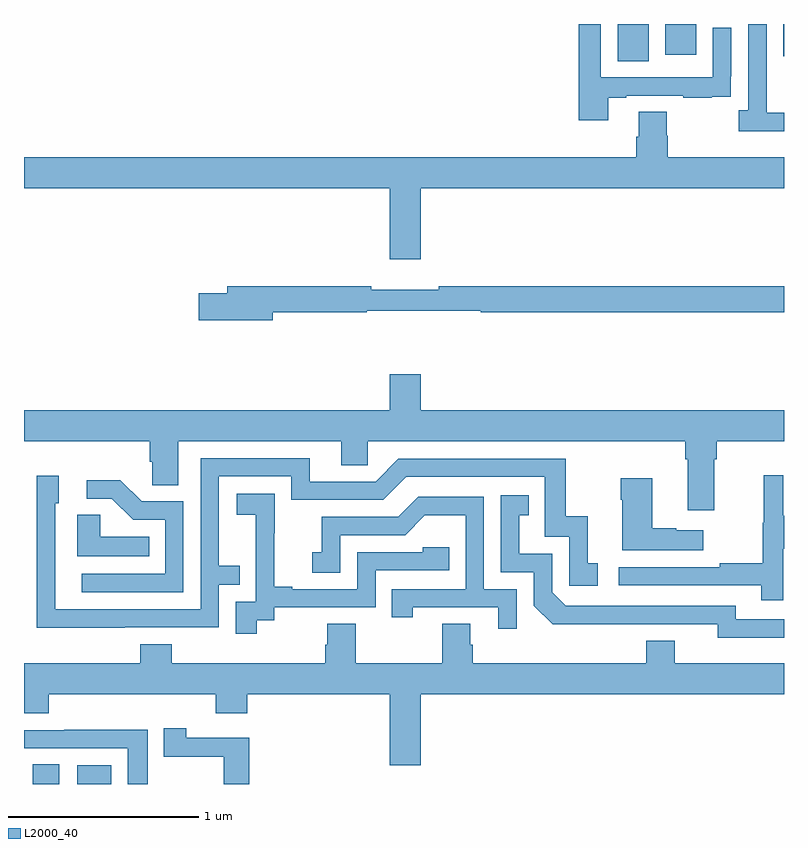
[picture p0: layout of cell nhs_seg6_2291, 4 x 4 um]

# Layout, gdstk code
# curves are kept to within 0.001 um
import gdstk
lib = gdstk.Library(unit=1e-6, precision=1e-09)
def R(c, l, rs):  # rectangles x0, y0, x1, y1
    for r in rs: c.add(gdstk.rectangle(r[:2], r[2:], *l))
def P(c, l, *ps):  # polygons
    for p in ps: c.add(gdstk.Polygon(p, *l))
L2000_40 = (2000, 40)

nhs_seg6_2291 = lib.new_cell('nhs_seg6_2291')
R(nhs_seg6_2291, L2000_40, [(247.046,977.5,247.186,977.603), (247.28,977.5,247.459,977.599), (250.124,981.304,250.288,981.5), (250.997,981.329,251,981.5), (250.376,981.339,250.537,981.5)])
P(nhs_seg6_2291, L2000_40, [(251,981.033),(250.909,981.033),(250.909,981.233),(250.908,981.233),(250.908,981.5),(250.812,981.5),(250.812,981.046),(250.761,981.046),(250.761,980.936),(251,980.936)],
  [(250.075,981.111),(250.171,981.111),(250.171,981.123),(250.471,981.123),(250.471,981.111),(250.619,981.111),(250.619,981.117),(250.721,981.117),(250.721,981.226),(250.722,981.226),(250.722,981.481),(250.626,981.481),(250.626,981.219),(250.035,981.219),(250.035,981.5),(249.919,981.5),(249.919,980.994),(250.075,980.994)],
  [(249.088,980.636),(251,980.636),(251,980.8),(250.388,980.8),(250.388,980.913),(250.383,980.913),(250.383,981.038),(250.235,981.038),(250.235,980.906),(250.223,980.906),(250.223,980.8),(247,980.8),(247,980.636),(248.924,980.636),(248.924,980.262),(249.088,980.262)],
  [(248.308,979.984),(248.804,979.984),(248.804,979.992),(249.404,979.992),(249.404,979.984),(251,979.984),(251,980.12),(249.184,980.12),(249.184,980.101),(248.828,980.101),(248.828,980.12),(248.069,980.12),(248.069,980.084),(247.92,980.084),(247.92,979.942),(248.308,979.942)],
  [(250.633,979.208),(250.646,979.208),(250.646,979.304),(251,979.304),(251,979.468),(249.088,979.468),(249.088,979.657),(248.924,979.657),(248.924,979.468),(247,979.468),(247,979.304),(247.661,979.304),(247.661,979.195),(247.674,979.195),(247.674,979.072),(247.813,979.072),(247.813,979.304),(248.669,979.304),(248.669,979.177),(248.808,979.177),(248.808,979.304),(250.481,979.304),(250.481,979.208),(250.493,979.208),(250.493,978.942),(250.633,978.942)],
  [(247.529,978.324),(248.025,978.324),(248.025,978.549),(248.135,978.549),(248.135,978.65),(248.025,978.65),(248.025,979.119),(248.406,979.119),(248.406,978.996),(248.892,978.996),(249.012,979.116),(249.741,979.116),(249.741,978.801),(249.87,978.801),(249.87,978.543),(250.021,978.543),(250.021,978.663),(249.968,978.663),(249.968,978.91),(249.85,978.91),(249.85,979.212),(248.97,979.212),(248.85,979.092),(248.503,979.092),(248.503,979.215),(247.929,979.215),(247.929,978.42),(247.164,978.42),(247.164,978.978),(247.183,978.978),(247.183,979.123),(247.068,979.123),(247.068,978.629),(247.066,978.629),(247.066,978.323)],
  [(250.997,978.739),(251,978.739),(251,978.913),(250.997,978.913),(250.997,979.126),(250.894,979.126),(250.894,978.876),(250.887,978.876),(250.887,978.662),(250.663,978.662),(250.663,978.642),(250.131,978.642),(250.131,978.546),(250.879,978.546),(250.879,978.468),(250.997,978.468)],
  [(250.576,978.835),(250.433,978.835),(250.433,978.845),(250.306,978.845),(250.306,979.108),(250.141,979.108),(250.141,978.995),(250.148,978.995),(250.148,978.731),(250.576,978.731)],
  [(247.839,978.987),(247.62,978.987),(247.507,979.1),(247.329,979.1),(247.329,979.002),(247.463,979.002),(247.574,978.891),(247.743,978.891),(247.743,978.606),(247.305,978.606),(247.305,978.51),(247.839,978.51)],
  [(248.224,978.361),(248.316,978.361),(248.316,978.429),(248.85,978.429),(248.85,978.624),(249.239,978.624),(249.239,978.747),(249.099,978.747),(249.099,978.72),(248.754,978.72),(248.754,978.525),(248.413,978.525),(248.413,978.538),(248.318,978.538),(248.318,978.821),(248.319,978.821),(248.319,979.027),(248.121,979.027),(248.121,978.917),(248.219,978.917),(248.219,978.689),(248.22,978.689),(248.22,978.459),(248.115,978.459),(248.115,978.291),(248.224,978.291)],
  [(251,978.366),(250.746,978.366),(250.746,978.438),(249.852,978.438),(249.78,978.51),(249.78,978.711),(249.607,978.711),(249.607,978.915),(249.656,978.915),(249.656,979.021),(249.51,979.021),(249.51,978.615),(249.684,978.615),(249.684,978.438),(249.782,978.341),(250.65,978.342),(250.65,978.269),(251,978.269)],
  [(249.594,978.525),(249.42,978.525),(249.42,979.011),(249.074,979.011),(248.969,978.906),(248.566,978.906),(248.566,978.721),(248.517,978.721),(248.517,978.612),(248.664,978.612),(248.664,978.81),(249.006,978.81),(249.11,978.914),(249.324,978.914),(249.324,978.525),(248.935,978.525),(248.935,978.378),(249.046,978.378),(249.046,978.429),(249.497,978.429),(249.497,978.318),(249.594,978.318)],
  [(247.658,978.802),(247.401,978.802),(247.401,978.917),(247.28,978.917),(247.28,978.698),(247.658,978.698)],
  [(249.088,977.972),(251,977.972),(251,978.136),(250.426,978.136),(250.426,978.253),(250.274,978.253),(250.274,978.136),(249.362,978.136),(249.362,978.234),(249.349,978.234),(249.349,978.344),(249.202,978.344),(249.202,978.136),(248.745,978.136),(248.745,978.344),(248.597,978.344),(248.597,978.234),(248.585,978.234),(248.585,978.136),(247.778,978.136),(247.778,978.235),(247.613,978.235),(247.613,978.136),(247,978.136),(247,977.873),(247.13,977.873),(247.13,977.972),(248.009,977.972),(248.009,977.873),(248.174,977.873),(248.174,977.972),(248.924,977.972),(248.924,977.598),(249.088,977.598)],
  [(248.186,977.743),(247.854,977.743),(247.854,977.794),(247.736,977.794),(247.736,977.644),(248.051,977.644),(248.051,977.5),(248.186,977.5)],
  [(247.651,977.786),(247.213,977.786),(247.213,977.784),(247,977.784),(247,977.688),(247.547,977.688),(247.547,977.5),(247.651,977.5)])

lib.write_gds('nhs_seg6_2291.gds')
